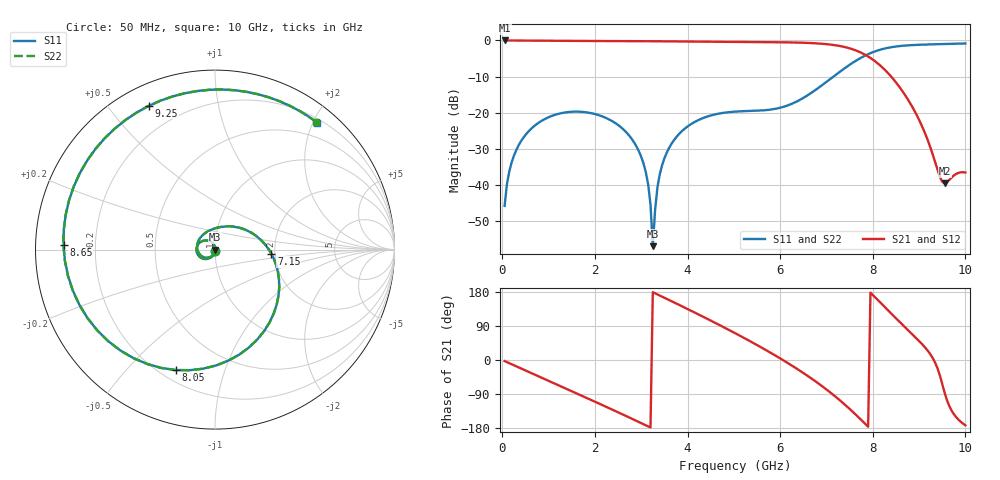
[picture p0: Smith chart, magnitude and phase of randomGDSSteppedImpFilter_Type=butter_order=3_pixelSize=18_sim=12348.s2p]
! freq	dB(S11)	phase(S11)	dB(S12)	phase(S12)
!  dB(S21)	phase(S21)	dB(S22)	phase(S22)
!S-par simulation data
#  GHz  S  DB  R 50
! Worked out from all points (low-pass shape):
!   200 points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, 50 MHz to 10 GHz, reference 50 ohm
!   highest |S21| = -0.01 dB at 50 MHz (marker M1); lowest = -39.6 dB at 9.55 GHz (marker M2)
!   |S21| within 3 dB of the highest: start of sweep to 7.681 GHz
!   lowest |S11| = -57.0 dB at 3.25 GHz (marker M3), VSWR 1.00, Z = 50.1 + j0.0216 ohm
!   |S11| at or under -10 dB: start of sweep to 7.152 GHz
!   |S22| runs from -57.9 to -0.8 dB; largest |S21 - S12| = 0
!   S11 on the Smith chart (normalised r, x): 50 MHz: 1.00, -0.01; 7.15 GHz: 1.91, -0.10; 8.05 GHz: 0.26, -0.69; 8.65 GHz: 0.08, +0.01; 9.25 GHz: 0.09, +0.64; 10 GHz: 0.26, +2.06
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0.05  -45.86 -91.9  -0.01 -2.8  -0.01 -2.8  -45.86 -91.9
0.2  -33.87 -100.8  -0.02 -11.1  -0.02 -11.1  -33.87 -100.8
0.5  -26.20 -117.6  -0.04 -27.6  -0.04 -27.6  -26.20 -117.6
1.75  -19.82 172.5  -0.15 -96.1  -0.15 -96.1  -19.82 172.7
2.9  -29.45 106.7  -0.20 -160.8  -0.20 -160.8  -29.45 107.3
3.15  -39.90 87.9  -0.21 -175.2  -0.21 -175.2  -39.94 89.1
3.2  -45.42 79.2  -0.22 -178.1  -0.22 -178.1  -45.51 81.2
3.25  -57.01 8.8  -0.22 179.0  -0.22 179.0  -57.90 7.8
3.3  -46.93 -79.5  -0.23 176.0  -0.23 176.0  -46.94 -81.2
3.4  -37.14 -96.0  -0.23 170.2  -0.23 170.2  -37.12 -96.2
3.95  -24.34 -132.3  -0.30 137.6  -0.30 137.6  -24.34 -131.8
5.05  -19.71 158.4  -0.41 69.3  -0.41 69.3  -19.70 159.4
5.95  -18.81 95.7  -0.49 7.9  -0.49 7.9  -18.81 96.9
6.7  -14.29 36.9  -0.75 -50.9  -0.75 -50.9  -14.30 37.4
7.15  -10.02 -4.4  -1.25 -92.2  -1.25 -92.2  -10.02 -4.3
7.65  -5.52 -58.9  -2.84 -146.1  -2.84 -146.1  -5.51 -58.9
8.05  -3.03 -108.1  -5.77 165.4  -5.77 165.4  -3.02 -108.1
8.35  -1.99 -145.7  -9.33 128.4  -9.33 128.4  -1.98 -145.5
8.65  -1.47 178.4  -14.22 92.3  -14.22 92.3  -1.47 178.6
9.25  -1.09 114.6  -29.90 13.9  -29.90 13.9  -1.09 115.0
9.55  -0.98 87.1  -39.61 -85.5  -39.61 -85.5  -0.98 87.6
10  -0.84 51.2  -36.60 -172.3  -36.60 -172.3  -0.84 51.7
